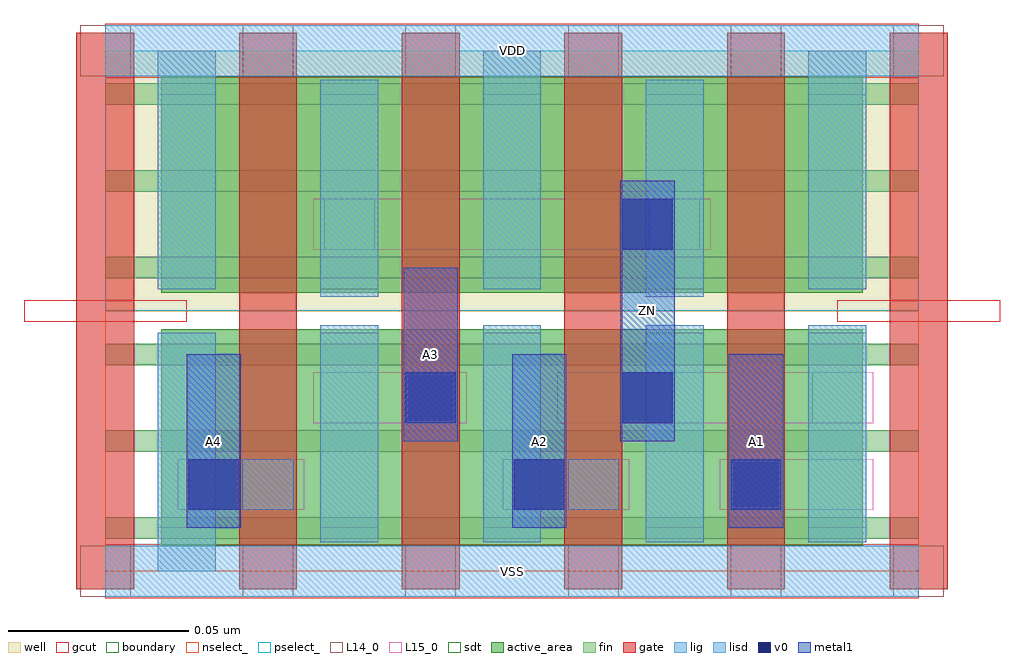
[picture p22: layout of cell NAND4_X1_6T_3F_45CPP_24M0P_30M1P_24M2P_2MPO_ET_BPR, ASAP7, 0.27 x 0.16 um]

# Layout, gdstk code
import gdstk
lib = gdstk.Library(unit=1e-6, precision=2.5e-10)
def R(c, l, rs):  # rectangles x0, y0, x1, y1
    for r in rs: c.add(gdstk.rectangle(r[:2], r[2:], *l))
def A(c, l, x, y, w, h, nx, ny, dx, dy):  # array of equal rectangles
    R(c, l, [(x+i*dx, y+j*dy, x+i*dx+w, y+j*dy+h) for i in range(nx) for j in range(ny)])
well = (1, 0)
fin = (2, 0)
gate = (7, 0)
gcut = (10, 0)
active_area = (11, 0)
nselect_ = (12, 0)
pselect_ = (13, 0)
L14_0 = (14, 0)
L15_0 = (15, 0)
lig = (16, 0)
lisd = (17, 0)
v0 = (18, 0)
metal1 = (19, 0)
sdt = (88, 0)
boundary = (100, 0)

nand4_x1_6t_3f_45cpp_24m = lib.new_cell('NAND4_X1_6T_3F_45CPP_24M0P_30M1P_24M2P_2MPO_ET_BPR')
R(nand4_x1_6t_3f_45cpp_24m, well, [(0,0.072,0.225,0.144)])
A(nand4_x1_6t_3f_45cpp_24m, fin, 0, 0.009, 0.225, 0.006, 1, 6, 0, 0.024)
A(nand4_x1_6t_3f_45cpp_24m, gate, -0.008, -0.005, 0.016, 0.154, 6, 1, 0.045, 0)
R(nand4_x1_6t_3f_45cpp_24m, gcut, [(0,-0.0075,0.225,0.0075), (-0.0225,0.069,0.0225,0.075), (0.2025,0.069,0.2475,0.075), (0,0.1365,0.225,0.1515)])
A(nand4_x1_6t_3f_45cpp_24m, active_area, 0.0155, 0.007, 0.059, 0.06, 4, 2, 0.045, 0.07)
R(nand4_x1_6t_3f_45cpp_24m, nselect_, [(0,0,0.225,0.072)])
R(nand4_x1_6t_3f_45cpp_24m, pselect_, [(0,0.072,0.225,0.144)])
A(nand4_x1_6t_3f_45cpp_24m, L14_0, -0.007, -0.007, 0.014, 0.014, 6, 2, 0.045, 0.144)
R(nand4_x1_6t_3f_45cpp_24m, L14_0, [(0.038,0.017,0.052,0.031), (0.128,0.017,0.142,0.031), (0.173,0.017,0.187,0.031), (0.083,0.041,0.097,0.055), (0.1955,0.041,0.2095,0.055), (0.0605,0.089,0.0745,0.103), (0.1505,0.089,0.1645,0.103)])
R(nand4_x1_6t_3f_45cpp_24m, L15_0, [(0,-0.007,0.225,0.007), (0.02,0.017,0.055,0.031), (0.11,0.017,0.145,0.031), (0.17,0.017,0.2125,0.031), (0.0575,0.041,0.1,0.055), (0.125,0.041,0.2125,0.055), (0.0575,0.089,0.1675,0.103), (0,0.137,0.225,0.151)])
R(nand4_x1_6t_3f_45cpp_24m, lig, [(0,-0.007,0.225,0.007), (0.038,0.017,0.052,0.031), (0.128,0.017,0.142,0.031), (0.173,0.017,0.187,0.031), (0.083,0.041,0.097,0.055), (0,0.137,0.225,0.151)])
A(nand4_x1_6t_3f_45cpp_24m, lisd, 0.0595, 0.008, 0.016, 0.06, 4, 1, 0.045, 0)
A(nand4_x1_6t_3f_45cpp_24m, lisd, 0.0145, 0.078, 0.016, 0.066, 3, 1, 0.09, 0)
R(nand4_x1_6t_3f_45cpp_24m, lisd, [(0.0145,0,0.0305,0.066), (0.0595,0.076,0.0755,0.136), (0.1495,0.076,0.1655,0.136)])
R(nand4_x1_6t_3f_45cpp_24m, v0, [(0.023,0.017,0.037,0.031), (0.113,0.017,0.127,0.031), (0.173,0.017,0.187,0.031), (0.083,0.041,0.097,0.055), (0.143,0.041,0.157,0.055), (0.143,0.089,0.157,0.103)])
R(nand4_x1_6t_3f_45cpp_24m, metal1, [(0.0225,0.012,0.0375,0.06), (0.1125,0.012,0.1275,0.06), (0.1725,0.012,0.1875,0.06), (0.0825,0.036,0.0975,0.084), (0.1425,0.036,0.1575,0.108)])
A(nand4_x1_6t_3f_45cpp_24m, sdt, 0.0145, 0.012, 0.016, 0.054, 5, 2, 0.045, 0.066)
R(nand4_x1_6t_3f_45cpp_24m, boundary, [(0,0,0.225,0.144)])
nand4_x1_6t_3f_45cpp_24m.add(gdstk.Label('ZN', (0.15,0.072), layer=19, texttype=251))
nand4_x1_6t_3f_45cpp_24m.add(gdstk.Label('A1', (0.18,0.036), layer=19, texttype=251))
nand4_x1_6t_3f_45cpp_24m.add(gdstk.Label('A2', (0.12,0.036), layer=19, texttype=251))
nand4_x1_6t_3f_45cpp_24m.add(gdstk.Label('A3', (0.09,0.06), layer=19, texttype=251))
nand4_x1_6t_3f_45cpp_24m.add(gdstk.Label('A4', (0.03,0.036), layer=19, texttype=251))
nand4_x1_6t_3f_45cpp_24m.add(gdstk.Label('VDD', (0.1125,0.144), layer=15, texttype=251))
nand4_x1_6t_3f_45cpp_24m.add(gdstk.Label('VSS', (0.1125,0), layer=15, texttype=251))
nand4_x1_6t_3f_45cpp_24m.add(gdstk.Label('VDD', (0.1125,0.144), layer=1, texttype=251))
nand4_x1_6t_3f_45cpp_24m.add(gdstk.Label('VSS', (0.1125,0), layer=3, texttype=251))

lib.write_gds('NAND4_X1_6T_3F_45CPP_24M0P_30M1P_24M2P_2MPO_ET_BPR.gds')
